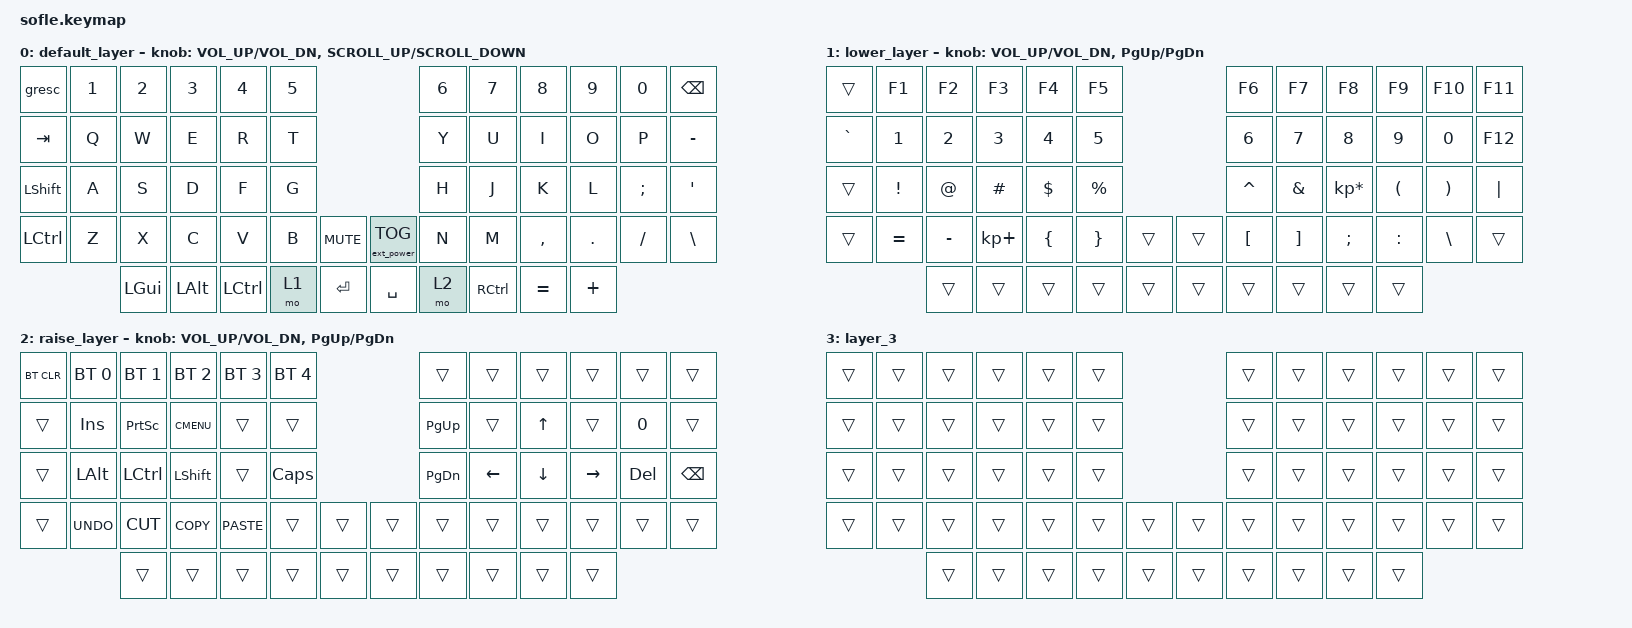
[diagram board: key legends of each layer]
/*
 * Copyright (c) 2020 The ZMK Contributors
 *
 * SPDX-License-Identifier: MIT
 */

#include <behaviors.dtsi>
#include <dt-bindings/zmk/bt.h>
#include <dt-bindings/zmk/ext_power.h>
#include <dt-bindings/zmk/keys.h>
#include <dt-bindings/led/led.h>

#include <dt-bindings/led/led.h>

&pinctrl {
    spi3_default: spi3_default {
        group1 {
            psels = <NRF_PSEL(SPIM_MOSI, 0, 6)>;
        };
    };

    spi3_sleep: spi3_sleep {
        group1 {
            psels = <NRF_PSEL(SPIM_MOSI, 0, 6)>;
            low-power-enable;
        };
    };
};

&spi3 {
  compatible = "nordic,nrf-spim";
  status = "okay";

  pinctrl-0 = <&spi3_default>;
  pinctrl-1 = <&spi3_sleep>;
  pinctrl-names = "default", "sleep";

  led_strip: ws2812@0 {
    compatible = "worldsemi,ws2812-spi";

    /* SPI */
    reg = <0>; /* ignored, but necessary for SPI bindings */
    spi-max-frequency = <4000000>;

    /* WS2812 */
    chain-length = <10>; /* number of LEDs */
    spi-one-frame = <0x70>;
    spi-zero-frame = <0x40>;
    color-mapping = <LED_COLOR_ID_GREEN
                          LED_COLOR_ID_RED
                          LED_COLOR_ID_BLUE>;
  };
};

/ {
    macros {
        Passport: Passport {
            compatible = "zmk,behavior-macro";
            #binding-cells = <0>;
            bindings = <&none &kp N9 &kp N7 &kp N3 &kp N7 &kp N3 &kp N8 &kp N6 &kp LS(O) &kp O &kp N8 &kp N6>;
            label = "PASSPORT";
        };
    };
&led_strip {
    chain-length = <29>;
};
    keymap {
        compatible = "zmk,keymap";

        default_layer {
            // ------------------------------------------------------------------------------------------------------------
            // |  `    |  1  |  2  |  3   |  4   |  5   |                         |  6   |  7    |  8    |  9   |   0   |       |
            // |  ESC  |  Q  |  W  |  E   |  R   |  T   |                         |  Y   |  U    |  I    |  O   |   P   | BKSPC |
            // |  TAB  |  A  |  S  |  D   |  F   |  G   |                         |  H   |  J    |  K    |  L   |   ;   |   '   |
            // | SHIFT |  Z  |  X  |  C   |  V   |  B   |  MUTE  |        | ExtPw |  N   |  M    |  ,    |  .   |   /   | SHIFT |
            //               | GUI | ALT  | CTRL | LOWER|  ENTER |        | SPACE | RAISE| CTRL  | ALT   | GUI  |

            bindings = <
&gresc          &kp N1  &kp N2    &kp N3    &kp N4     &kp N5                                   &kp N6  &kp N7     &kp N8     &kp N9    &kp N0    &kp BACKSPACE
&kp TAB         &kp Q   &kp W     &kp E     &kp R      &kp T                                    &kp Y   &kp U      &kp I      &kp O     &kp P     &kp MINUS
&kp LEFT_SHIFT  &kp A   &kp S     &kp D     &kp F      &kp G                                    &kp H   &kp J      &kp K      &kp L     &kp SEMI  &kp SQT
&kp LCTRL       &kp Z   &kp X     &kp C     &kp V      &kp B   &kp C_MUTE    &ext_power EP_TOG  &kp N   &kp M      &kp COMMA  &kp DOT   &kp FSLH  &kp BSLH
                        &kp LGUI  &kp LALT  &kp LCTRL  &mo 1   &kp RET       &kp SPACE          &mo 2   &kp RCTRL  &kp EQUAL  &kp PLUS
            >;

            sensor-bindings =
                <&inc_dec_kp C_VOL_UP C_VOL_DN>,
                <&inc_dec_kp K_SCROLL_UP K_SCROLL_DOWN>;
        };

        lower_layer {
            // TODO: Some binds are waiting for shifted keycode support.
            // ------------------------------------------------------------------------------------------------------------
            // |       |  F1 |  F2 |  F3  |  F4  |  F5  |                   |  F6  |  F7   |  F8   |  F9  |  F10  |  F11  |
            // | `     |   1 |   2 |   3  |   4  |   5  |                   |   6  |   7   |   8   |   9  |    0  |  F12  |
            // |       |  !  |  @  |  #   |  $   |  %   |                   |  ^   |  &    |  *    |  (   |   )   |   |   |
            // |       |  =  |  -  |  +   |  {   |  }   |        |  |       |  [   |  ]    |  ;    |  :   |   \   |       |
            //               |     |      |      |      |        |  |       |      |       |       |      |

            bindings = <
&trans     &kp F1     &kp F2     &kp F3       &kp F4    &kp F5                       &kp F6     &kp F7    &kp F8           &kp F9     &kp F10   &kp F11
&kp GRAVE  &kp N1     &kp N2     &kp N3       &kp N4    &kp N5                       &kp N6     &kp N7    &kp N8           &kp N9     &kp N0    &kp F12
&trans     &kp EXCL   &kp AT     &kp HASH     &kp DLLR  &kp PRCNT                    &kp CARET  &kp AMPS  &kp KP_MULTIPLY  &kp LPAR   &kp RPAR  &kp PIPE
&trans     &kp EQUAL  &kp MINUS  &kp KP_PLUS  &kp LBRC  &kp RBRC   &trans    &trans  &kp LBKT   &kp RBKT  &kp SEMI         &kp COLON  &kp BSLH  &trans
                      &trans     &trans       &trans    &trans     &trans    &trans  &trans     &trans    &trans           &trans
            >;

            sensor-bindings = <&inc_dec_kp C_VOL_UP C_VOL_DN &inc_dec_kp PG_UP PG_DN>;
        };

        raise_layer {
            // ------------------------------------------------------------------------------------------------------------
            // |BTCLR| BT1  | BT2  |  BT3  |  BT4  |  BT5 |                |      |      |       |      |       |       |
            // |     | INS  | PSCR | GUI   |       |      |                | PGUP |      |   ^   |      |       |       |
            // |     | ALT  | CTRL | SHIFT |       | CAPS |                | PGDN |   <- |   v   |  ->  |  DEL  | BKSPC |
            // |     | UNDO | CUT  | COPY  | PASTE |      |      |  |      |      |      |       |      |       |       |
            //              |      |       |       |      |      |  |      |      |      |       |      |

            bindings = <
&bt BT_CLR  &bt BT_SEL 0  &bt BT_SEL 1  &bt BT_SEL 2  &bt BT_SEL 3  &bt BT_SEL 4                    &trans     &trans    &trans    &trans     &trans   &trans
&trans      &kp INS       &kp PSCRN     &kp K_CMENU   &trans        &trans                          &kp PG_UP  &trans    &kp UP    &trans     &kp N0   &trans
&trans      &kp LALT      &kp LCTRL     &kp LSHFT     &trans        &kp CLCK                        &kp PG_DN  &kp LEFT  &kp DOWN  &kp RIGHT  &kp DEL  &kp BSPC
&trans      &kp K_UNDO    &kp K_CUT     &kp K_COPY    &kp K_PASTE   &trans        &trans    &trans  &trans     &trans    &trans    &trans     &trans   &trans
                          &trans        &trans        &trans        &trans        &trans    &trans  &trans     &trans    &trans    &trans
            >;

            sensor-bindings = <&inc_dec_kp C_VOL_UP C_VOL_DN &inc_dec_kp PG_UP PG_DN>;
        };

        layer_3 {
            bindings = <
&trans  &trans  &trans  &trans  &trans  &trans                    &trans  &trans  &trans  &trans  &trans  &trans
&trans  &trans  &trans  &trans  &trans  &trans                    &trans  &trans  &trans  &trans  &trans  &trans
&trans  &trans  &trans  &trans  &trans  &trans                    &trans  &trans  &trans  &trans  &trans  &trans
&trans  &trans  &trans  &trans  &trans  &trans  &trans    &trans  &trans  &trans  &trans  &trans  &trans  &trans
                &trans  &trans  &trans  &trans  &trans    &trans  &trans  &trans  &trans  &trans
            >;
        };
    };
};
